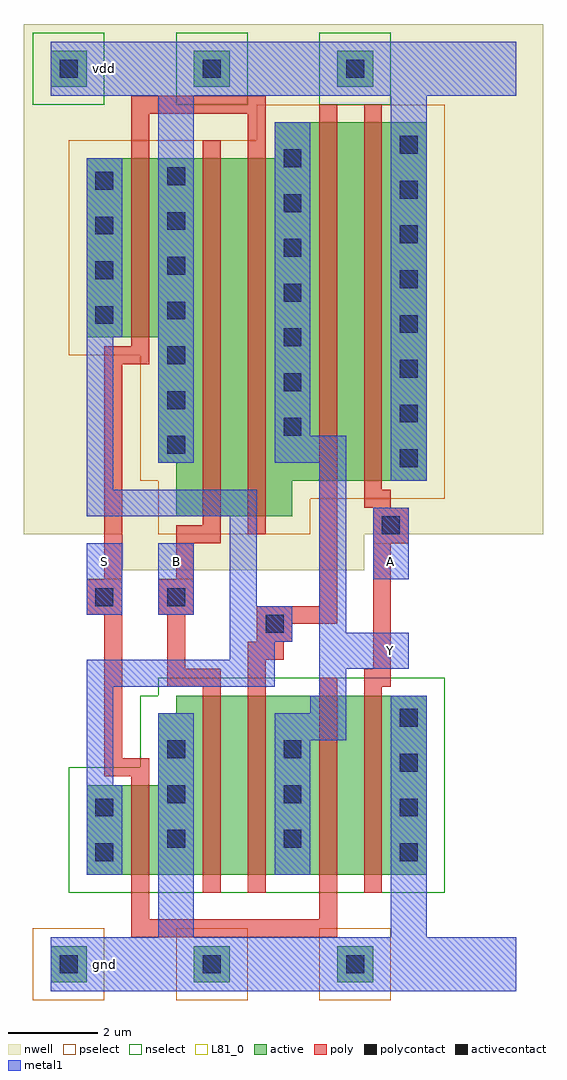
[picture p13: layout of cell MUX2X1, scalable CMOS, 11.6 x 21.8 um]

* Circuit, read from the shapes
.subckt MUX2X1 A B S Y gnd vdd
M1 gnd S n1 gnd nfet w=2u l=0.4u
M2 n2 B gnd gnd nfet w=4u l=0.4u
M3 Y n1 n2 gnd nfet w=4u l=0.4u
M4 n3 S Y gnd nfet w=4u l=0.4u
M5 gnd A n3 gnd nfet w=4u l=0.4u
M6 vdd S n1 vdd pfet w=4u l=0.4u
M7 n4 B vdd vdd pfet w=8u l=0.4u
M8 Y S n4 vdd pfet w=8u l=0.4u
M9 n5 n1 Y vdd pfet w=8u l=0.4u
M10 vdd A n5 vdd pfet w=8u l=0.4u
.ends

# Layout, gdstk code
import gdstk
lib = gdstk.Library(unit=1e-6, precision=1e-09)
def R(c, l, rs):  # rectangles x0, y0, x1, y1
    for r in rs: c.add(gdstk.rectangle(r[:2], r[2:], *l))
def A(c, l, x, y, w, h, nx, ny, dx, dy):  # array of equal rectangles
    R(c, l, [(x+i*dx, y+j*dy, x+i*dx+w, y+j*dy+h) for i in range(nx) for j in range(ny)])
nwell = (42, 0)
active = (43, 0)
pselect = (44, 0)
nselect = (45, 0)
poly = (46, 0)
polycontact = (47, 0)
activecontact = (48, 0)
metal1 = (49, 0)
L81_0 = (81, 0)

mux2x1 = lib.new_cell('MUX2X1')
R(mux2x1, nwell, [(1.2,8.8,6.6,9.6), (-1,9.6,10.6,21)])
A(mux2x1, active, -0.4, -0.4, 0.8, 0.8, 3, 2, 3.2, 20)
R(mux2x1, active, [(0.4,2,8,4), (2,4,8,5.6), (2.4,5.6,8,6), (2.4,10,5,10.8), (2.4,10.8,8,11.2), (2,11.2,8,14), (0.4,14,8,18), (4.6,18,8,18.8)])
A(mux2x1, pselect, -0.8, -0.8, 1.6, 1.6, 3, 1, 3.2, 0)
R(mux2x1, pselect, [(2,9.6,5.4,10.4), (2,10.4,8.4,10.8), (1.6,10.8,8.4,13.6), (0,13.6,8.4,18.4), (4.2,18.4,8.4,19.2)])
A(mux2x1, nselect, -0.8, 19.2, 1.6, 1.6, 3, 1, 3.2, 0)
R(mux2x1, nselect, [(0,1.6,8.4,4.4), (1.6,4.4,8.4,6), (2,6,8.4,6.4)])
R(mux2x1, poly, [(1.4,0.6,6,1), (1.4,1,1.8,4.2), (5.6,1,6,6.4), (3,1.6,3.4,6.2), (4,1.6,4.4,6.8), (6.6,1.6,7,6.2), (0.8,4.2,1.8,4.6), (0.8,4.6,1.2,7.8), (2.2,6.2,3.4,6.6), (6.6,6.2,7.2,6.6), (2.2,6.6,2.6,7.8), (6.8,6.6,7.2,9.4), (4,6.8,4.8,7.2), (4.2,7.2,5,7.6), (4.2,7.6,6,8), (0.4,7.8,1.2,8.6), (2,7.8,2.8,8.6), (5.6,8,6,19.2), (0.8,8.6,1.2,13.4), (2.4,8.6,2.8,9.4), (2.4,9.4,3.4,9.8), (6.8,9.4,7.6,10.2), (4,9.6,4.4,19), (3,9.8,3.4,18.4), (6.6,10.2,7.2,10.6), (6.6,10.6,7,19.2), (0.8,13.4,1.8,13.8), (1.4,13.8,1.8,19), (1.4,19,4.4,19.4)])
R(mux2x1, polycontact, [(4.4,7.4,4.8,7.8), (0.6,8,1,8.4), (2.2,8,2.6,8.4), (7,9.6,7.4,10)])
A(mux2x1, activecontact, -0.2, -0.2, 0.4, 0.4, 3, 2, 3.2, 20)
A(mux2x1, activecontact, 7.4, 2.3, 0.4, 0.4, 1, 4, 0, 1)
A(mux2x1, activecontact, 2.2, 2.6, 0.4, 0.4, 1, 3, 0, 1)
A(mux2x1, activecontact, 4.8, 2.6, 0.4, 0.4, 1, 3, 0, 1)
A(mux2x1, activecontact, 7.4, 11.1, 0.4, 0.4, 1, 8, 0, 1)
A(mux2x1, activecontact, 2.2, 11.4, 0.4, 0.4, 1, 7, 0, 1)
A(mux2x1, activecontact, 4.8, 11.8, 0.4, 0.4, 1, 7, 0, 1)
A(mux2x1, activecontact, 0.6, 14.3, 0.4, 0.4, 1, 4, 0, 1)
R(mux2x1, activecontact, [(0.6,2.3,1,2.7), (0.6,3.3,1,3.7)])
R(mux2x1, metal1, [(-0.4,-0.6,10,0.6), (2,0.6,2.8,5.6), (7.2,0.6,8,6), (0.4,2,1.2,4), (4.6,2,5.4,5), (0.4,4,1,6.2), (4.6,5,6.2,5.6), (5.4,5.6,6.2,6), (5.6,6,6.2,6.6), (0.4,6.2,4.6,6.8), (5.6,6.6,7.6,7.4), (3.6,6.8,4.6,7.2), (3.6,7.2,5,8), (5.6,7.4,6.2,11.2), (0.4,7.8,1.2,9.4), (2,7.8,2.8,9.4), (3.6,8,4.2,10), (6.8,8.6,7.6,10.2), (0.4,10,4.2,10.6), (0.4,10.6,1,14), (7.2,10.8,8,19.4), (2,11.2,2.8,19.4), (4.6,11.2,6.2,11.8), (4.6,11.8,5.4,18.8), (0.4,14,1.2,18), (-0.4,19.4,10,20.6)])
R(mux2x1, L81_0, [(6.8,6.6,7.6,7.4), (0.4,8.6,1.2,9.4), (2,8.6,2.8,9.4), (6.8,8.6,7.6,9.4)])
mux2x1.add(gdstk.Label('S', (0.8,9), layer=109, texttype=0))
mux2x1.add(gdstk.Label('vdd', (0.8,20), layer=109, texttype=0))
mux2x1.add(gdstk.Label('gnd', (0.8,0), layer=109, texttype=0))
mux2x1.add(gdstk.Label('Y', (7.2,7), layer=109, texttype=0))
mux2x1.add(gdstk.Label('A', (7.2,9), layer=109, texttype=0))
mux2x1.add(gdstk.Label('B', (2.4,9), layer=109, texttype=0))

lib.write_gds('MUX2X1.gds')
